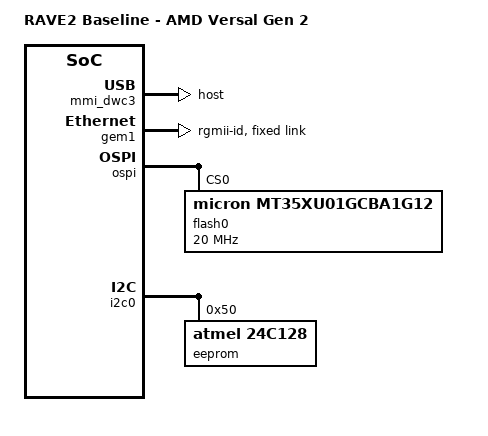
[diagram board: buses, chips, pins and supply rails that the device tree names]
// Copyright © Advanced Micro Devices, Inc., or its affiliates. All rights reserved.
// Copyright (C) 2015-2024 Texas Instruments Incorporated - https://www.ti.com/
// Modifications Copyright(C) 2026 Advanced Micro Devices, Inc. All rights reserved.
// SPDX-License-Identifier: MIT AND BSD-2-Clause
// Contributors: KC
// Maintainer: KC
// DP83867 constants copied from Linux include/dt-bindings/net/ti-dp83867.h
// (GPL-2.0-only OR MIT); MIT selected. GPIO_ACTIVE_LOW copied from
// include/dt-bindings/gpio/gpio.h (GPL-2.0 OR BSD-2-Clause); BSD-2-Clause selected.
#define DP83867_RGMIIDCTL_250_PS        0x0
#define DP83867_RGMIIDCTL_500_PS        0x1
#define DP83867_RGMIIDCTL_750_PS        0x2
#define DP83867_RGMIIDCTL_1_NS          0x3
#define DP83867_RGMIIDCTL_1_25_NS       0x4
#define DP83867_RGMIIDCTL_1_50_NS       0x5
#define DP83867_RGMIIDCTL_1_75_NS       0x6
#define DP83867_RGMIIDCTL_2_00_NS       0x7
#define DP83867_RGMIIDCTL_2_25_NS       0x8
#define DP83867_RGMIIDCTL_2_50_NS       0x9
#define DP83867_RGMIIDCTL_2_75_NS       0xa
#define DP83867_RGMIIDCTL_3_00_NS       0xb
#define DP83867_RGMIIDCTL_3_25_NS       0xc
#define DP83867_RGMIIDCTL_3_50_NS       0xd
#define DP83867_RGMIIDCTL_3_75_NS       0xe
#define DP83867_RGMIIDCTL_4_00_NS       0xf

#define   DP83867_PHYCR_FIFO_DEPTH_4_B_NIB  0x01
#define   GPIO_ACTIVE_LOW 1



/ {
        model = "RAVE2 Baseline - AMD Versal Gen 2";
	compatible = "amd,versal2";
	chosen {
		stdout-path = "serial0:115200n8";
		bootargs = "earlycon=pl011,mmio32,0xf1920000 console=ttyAMA0,115200";
		xen_bootargs = "console=dtuart dtuart=serial0 dom0_mem=1000M dom0_max_vcpus=1 bootscrub=0 vwfi=native";
		dom0_bootargs = "console=hvc0 earlycon=xen earlyprintk=xen clk_ignore_unused";
	};

	reserved-memory {
		#address-cells = <0x2>;
		#size-cells = <0x2>;
		ranges;

		/delete-node/ cma_reserved@800000000;
		// Used to reserve memory for VCU
		shared_dma_reserved: shared_dma_mem_region {
			compatible = "shared-dma-pool";
			reg = <0x8 0x0 0x1 0x40000000>;
			linux,cma-default;
			reusable;
		};

		//npu_dma_reserved: npup_dma_mem_region {
		//	compatible = "shared-dma-pool";
		//	size = <0x0 0x60000000>;
		//	alloc-ranges = <0x500 0x0 0x0 0x80000000>;
		//	no-map;
		//};

	};

        aliases {
		spi0 = "/axi/spi@f1010000";
    spi1 = "/axi/spi@f19d0000";
		nvmem0 = &eeprom;
	};
};

&gpio0 {
        status = "okay";
};

&mmi_dwc3 {
        dr_mode = "host";
        maximum-speed = "super-speed-plus";
        dma-coherent;
        snps,dis_u2_susphy_quirk;
        snps,dis_u3_susphy_quirk;
        snps,usb3_lpm_capable;
};


&gem1 { /* PMC_MIO_48, LPD_MIO0-11/24/25 */
 /*       phy-handle = <&phy1>; */
        phy-mode = "rgmii-id";
 /* MDIO doesnt work from ospi - so fixed link for now */
 /*       mdio: mdio { */
 /*               #address-cells = <1>; */
 /*               #size-cells = <0>; */
 /*               phy1: ethernet-phy@0 {  */
 /*                       #phy-cells = <1>; */
 /*                       compatible = "ethernet-phy-id2000.a231"; */
 /*                       reg = <0>; */
 /*                       ti,rx-internal-delay = <DP83867_RGMIIDCTL_3_00_NS>; */
 /*                       ti,tx-internal-delay = <DP83867_RGMIIDCTL_2_75_NS>; */
 /*                       ti,fifo-depth = <1>; */
 /*                       ti,dp83867-rxctrl-strap-quirk; */
 /*                       reset-assert-us = <100>; */
 /*                       reset-deassert-us = <280>; */
 /*                       reset-gpios = <&gpio0 25 GPIO_ACTIVE_LOW>; */
 /*               }; */
 /*        }; */
        fixed-link {
                pause;
                full-duplex;
                speed = <1000>;
        };
};

&mmi_10gbe { /* 10GbE direct to switch, no PHY */
        phy-mode = "10gbase-r";
        fixed-link {
                speed = <10000>;
                full-duplex;
        };
};


&ospi { /* PMC_MIO0-10, MIO12 */
        reset-names = "qspi";
        #address-cells = <1>;
        #size-cells = <0>;

	flash0: flash@0 {
		compatible = "micron,mt35xu01gcba1g12", "micron,mt35xu01g", "jedec,spi-nor";
		reg = <0>;
		spi-tx-bus-width = <8>;
		spi-rx-bus-width = <8>;
		spi-max-frequency = <20000000>;
		no-wp;
		spi-nor,octal-dtr-enable;
		boot,primary;
	};
};

&i2c0 {
        eeprom: eeprom@50 {
                compatible = "atmel,24c128";
                bootph-all;
                reg = <0x50>;
        };
};
